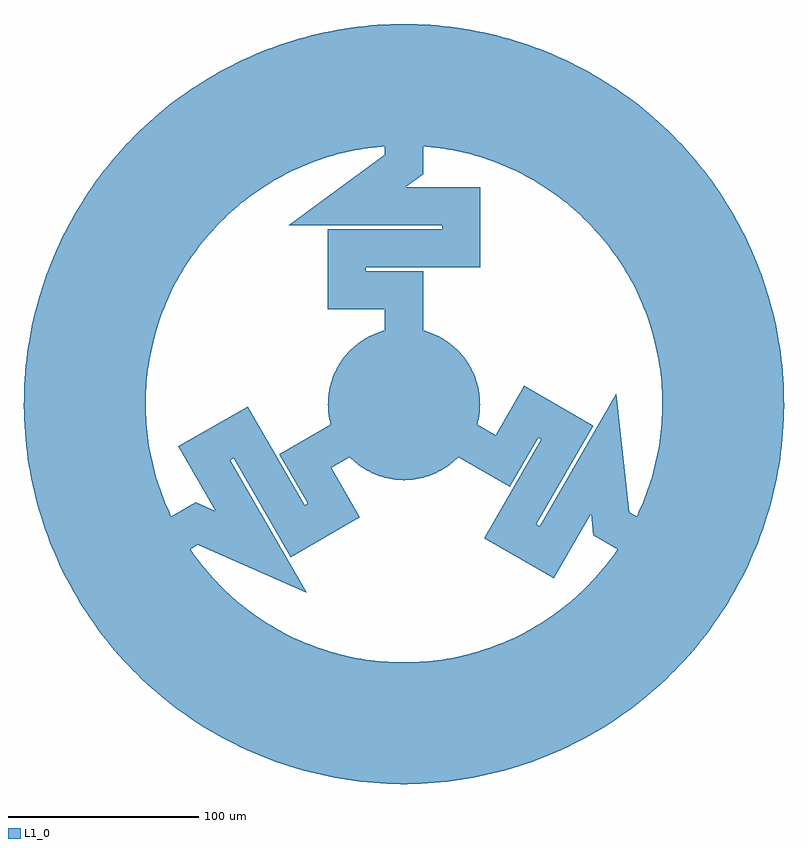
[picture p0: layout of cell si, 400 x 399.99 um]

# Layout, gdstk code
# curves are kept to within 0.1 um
import gdstk
lib = gdstk.Library(unit=1e-6, precision=1e-09)
def P(c, l, *ps):  # polygons
    for p in ps: c.add(gdstk.Polygon(p, *l))
L1_0 = (1, 0)

c_si = lib.new_cell('si')
P(c_si, L1_0, [(-0.35,-39.998),(-3.844,-39.815),(-7.997,-39.193),(-12.061,-38.138),(-15.992,-36.664),(-19.747,-34.786),(-22.712,-32.927),(-26.038,-30.365),(-28.592,-27.973),(-31.367,-24.822),(-33.416,-21.986),(-35.21,-18.981),(-37.005,-15.186),(-38.191,-11.894),(-39.227,-7.825),(-39.831,-3.67),(-39.997,0.525),(-39.798,4.019),(-39.157,8.168),(-38.085,12.227),(-36.594,16.152),(-35.042,19.289),(-32.827,22.855),(-30.704,25.637),(-27.848,28.714),(-24.685,31.475),(-21.25,33.889),(-17.58,35.93),(-14.373,37.329),(-11.055,38.442),(-6.965,39.389),(-3.496,39.847),(0.7,39.994),(4.888,39.7),(9.023,38.969),(13.058,37.809),(16.312,36.523),(20.051,34.612),(22.999,32.727),(25.771,30.592),(28.836,27.722),(31.583,24.547),(33.607,21.693),(35.696,18.05),(37.137,14.862),(38.49,10.887),(39.294,7.481),(39.798,4.019),(40,-0.175),(39.761,-4.367),(39.227,-7.825),(38.191,-11.894),(36.734,-15.831),(35.21,-18.981),(33.026,-22.567),(30.479,-25.905),(28.098,-28.469),(24.959,-31.258),(22.132,-33.319),(18.517,-35.456),(15.348,-36.938),(11.391,-38.344),(7.997,-39.193),(3.844,-39.815)],
  [(-1.75,-199.992),(-8.748,-199.809),(-19.222,-199.074),(-29.644,-197.791),(-39.983,-195.963),(-50.212,-193.594),(-60.303,-190.692),(-70.228,-187.265),(-79.959,-183.321),(-89.47,-178.872),(-98.734,-173.93),(-104.761,-170.368),(-113.558,-164.635),(-122.041,-158.448),(-130.189,-151.825),(-135.422,-147.176),(-142.96,-139.866),(-150.103,-132.17),(-156.833,-124.111),(-163.13,-115.709),(-167.08,-109.929),(-172.619,-101.009),(-177.682,-91.81),(-182.255,-82.359),(-186.327,-72.68),(-188.756,-66.115),(-191.966,-56.117),(-194.646,-45.965),(-196.79,-35.687),(-198.392,-25.31),(-199.447,-14.863),(-199.845,-7.874),(-199.983,2.625),(-199.569,13.117),(-198.988,20.093),(-198.163,27.045),(-196.471,37.407),(-194.237,47.667),(-191.467,57.795),(-189.327,64.461),(-185.683,74.308),(-182.969,80.761),(-178.479,90.252),(-175.211,96.443),(-169.908,105.505),(-164.137,114.277),(-160.037,119.951),(-153.521,128.185),(-146.641,136),(0,136),(-7.137,135.813),(-16.62,134.981),(-23.681,133.922),(-32.991,131.938),(-39.87,130.025),(-48.868,126.917),(-55.461,124.178),(-64.012,119.994),(-70.221,116.469),(-78.196,111.272),(-83.928,107.015),(-91.208,100.882),(-96.377,95.956),(-102.853,88.979),(-107.381,83.459),(-112.956,75.743),(-116.775,69.711),(-121.365,61.371),(-124.419,54.917),(-127.956,46.08),(-130.866,37.016),(-132.628,30.097),(-134.025,23.095),(-135.312,13.663),(-135.843,6.543),(-135.967,-2.975),(-135.624,-10.107),(-134.585,-19.569),(-133.372,-26.605),(-131.185,-35.87),(-128.354,-44.958),(-125.818,-51.632),(-122.935,-58.164),(-118.565,-66.621),(-114.905,-72.752),(-109.535,-80.611),(-105.153,-86.249),(-98.862,-93.393),(-93.825,-98.453),(-86.708,-104.775),(-81.09,-109.181),(-73.254,-114.586),(-65.059,-119.429),(-58.702,-122.679),(-49.976,-126.485),(-43.269,-128.933),(-34.144,-131.644),(-27.189,-133.255),(-20.158,-134.498),(-10.7,-135.578),(-1.19,-135.995),(5.949,-135.87),(15.438,-135.121),(22.508,-134.124),(29.516,-132.758),(38.731,-130.368),(47.755,-127.34),(54.372,-124.658),(60.84,-121.633),(69.199,-117.079),(77.219,-111.952),(82.988,-107.745),(90.322,-101.676),(95.533,-96.796),(100.482,-91.648),(105.153,-86.249),(109.535,-80.611),(112.289,-76.729),(116.161,-70.73),(119.713,-64.536),(122.935,-58.164),(125.818,-51.632),(128.354,-44.958),(130.537,-38.16),(131.792,-33.568),(133.372,-26.605),(134.222,-21.921),(135.187,-14.847),(135.78,-7.732),(135.999,-0.595),(135.843,6.543),(135.312,13.663),(134.751,18.39),(133.6,25.437),(132.081,32.414),(130.198,39.301),(127.956,46.08),(125.361,52.731),(122.421,59.238),(120.273,63.486),(116.775,69.711),(112.956,75.743),(108.825,81.567),(104.394,87.166),(99.676,92.524),(94.683,97.628),(87.622,104.012),(83.928,107.015),(78.196,111.272),(70.221,116.469),(64.012,119.994),(59.773,122.161),(55.461,124.178),(48.868,126.917),(39.87,130.025),(30.677,132.495),(21.334,134.316),(11.886,135.48),(2.38,135.979),(-146.641,136),(-141.73,141.112),(-134.129,148.355),(-126.159,155.19),(-117.84,161.597),(-109.197,167.559),(-100.253,173.059),(-91.032,178.082),(-81.56,182.614),(-71.864,186.643),(-61.97,190.157),(-51.905,193.147),(-41.696,195.605),(-31.373,197.524),(-20.964,198.898),(-10.496,199.724),(0,200),(10.496,199.724),(17.48,199.235),(27.912,198.043),(38.267,196.305),(48.516,194.026),(58.632,191.213),(68.587,187.872),(75.12,185.357),(84.744,181.159),(94.135,176.462),(100.253,173.059),(109.197,167.559),(117.84,161.597),(126.159,155.19),(134.129,148.355),(141.73,141.112),(148.941,133.479),(153.521,128.185),(160.037,119.951),(166.111,111.387),(171.728,102.515),(176.872,93.362),(181.528,83.95),(184.355,77.546),(188.17,67.764),(191.467,57.795),(194.237,47.667),(196.471,37.407),(198.163,27.045),(198.988,20.093),(199.768,9.622),(199.998,-0.875),(199.677,-11.37),(198.805,-21.834),(197.919,-28.778),(196.136,-39.125),(193.812,-49.365),(191.966,-56.117),(188.756,-66.115),(185.026,-75.93),(180.786,-85.536),(176.048,-94.906),(172.619,-101.009),(167.08,-109.929),(161.08,-118.546),(154.637,-126.836),(147.767,-134.777),(140.49,-142.346),(132.826,-149.523),(124.796,-156.288),(119.25,-160.56),(110.659,-166.597),(101.763,-172.175),(92.587,-177.279),(83.155,-181.893),(73.495,-186.007),(63.631,-189.608),(53.593,-192.686),(43.407,-195.233),(36.547,-196.632),(26.178,-198.279),(15.735,-199.38),(8.748,-199.809)])
c_si.add(gdstk.FlexPath([(0,0),(0,60),(-30,60),(-30,82),(30,82),(30,104),(-30,104),(-30,104),(0,126),(0,136)], 20, ends="flush", simple_path=True, layer=1, datatype=0))  # L1_0
c_si.add(gdstk.FlexPath([(0,0),(-51.962,-30),(-36.962,-55.981),(-56.014,-66.981),(-86.014,-15.019),(-105.067,-26.019),(-75.067,-77.981),(-75.067,-77.981),(-109.119,-63),(-117.779,-68)], 20, ends="flush", simple_path=True, layer=1, datatype=0))  # L1_0
c_si.add(gdstk.FlexPath([(0,0),(51.962,-30),(66.962,-4.019),(86.014,-15.019),(56.014,-66.981),(75.067,-77.981),(105.067,-26.019),(105.067,-26.019),(109.119,-63),(117.779,-68)], 20, ends="flush", simple_path=True, layer=1, datatype=0))  # L1_0

lib.write_gds('si.gds')
